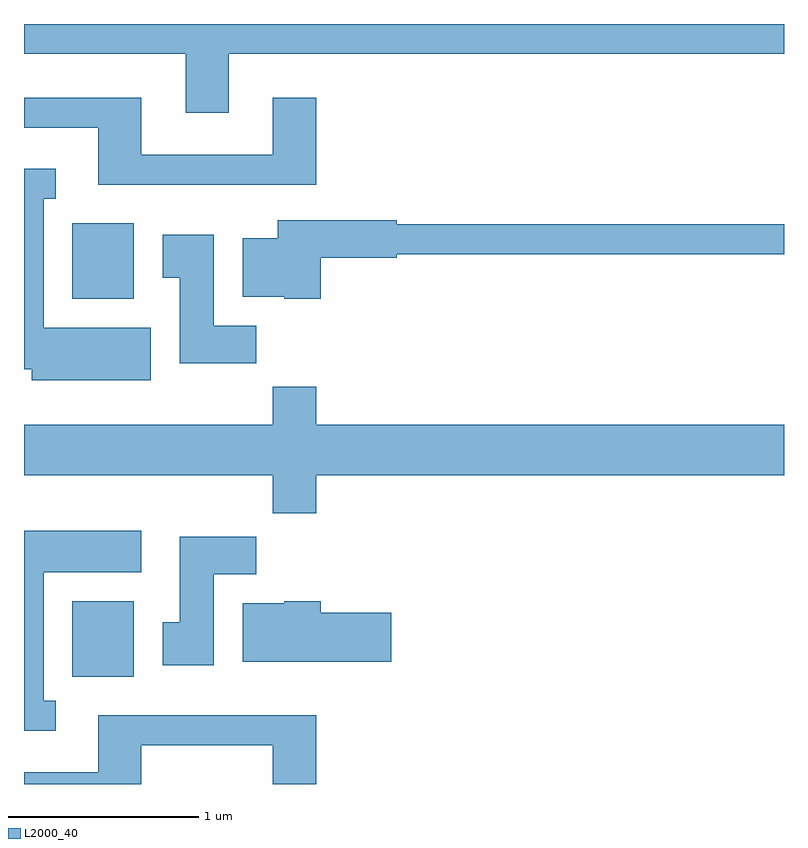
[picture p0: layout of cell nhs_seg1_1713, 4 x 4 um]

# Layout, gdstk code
import gdstk
lib = gdstk.Library(unit=1e-6, precision=1e-09)
def R(c, l, rs):  # rectangles x0, y0, x1, y1
    for r in rs: c.add(gdstk.rectangle(r[:2], r[2:], *l))
def P(c, l, *ps):  # polygons
    for p in ps: c.add(gdstk.Polygon(p, *l))
L2000_40 = (2000, 40)

nhs_seg1_1713 = lib.new_cell('nhs_seg1_1713')
R(nhs_seg1_1713, L2000_40, [(237.866,916.276,238.189,916.674), (237.866,918.266,238.189,918.664)])
P(nhs_seg1_1713, L2000_40, [(238.689,919.556),(241.611,919.556),(241.611,919.712),(237.611,919.712),(237.611,919.556),(238.461,919.556),(238.461,919.246),(238.689,919.246)],
  [(239.149,919.324),(238.921,919.324),(238.921,919.024),(238.229,919.024),(238.229,919.324),(237.611,919.324),(237.611,919.166),(238.001,919.166),(238.001,918.866),(239.149,918.866)],
  [(238.279,918.114),(237.714,918.114),(237.714,918.791),(237.778,918.791),(237.778,918.949),(237.611,918.949),(237.611,917.896),(237.651,917.896),(237.651,917.836),(238.279,917.836)],
  [(239.174,918.481),(239.574,918.481),(239.574,918.501),(241.611,918.501),(241.611,918.659),(239.574,918.659),(239.574,918.679),(238.946,918.679),(238.946,918.584),(238.761,918.584),(238.761,918.276),(238.98,918.276),(238.98,918.266),(239.174,918.266)],
  [(238.834,918.124),(238.609,918.124),(238.609,918.604),(238.341,918.604),(238.341,918.376),(238.431,918.376),(238.431,917.926),(238.834,917.926)],
  [(239.149,917.336),(241.611,917.336),(241.611,917.604),(239.149,917.604),(239.149,917.804),(238.921,917.804),(238.921,917.604),(237.611,917.604),(237.611,917.336),(238.921,917.336),(238.921,917.136),(239.149,917.136)],
  [(237.778,916.149),(237.714,916.149),(237.714,916.826),(238.229,916.826),(238.229,917.044),(237.611,917.044),(237.611,915.991),(237.778,915.991)],
  [(238.609,916.816),(238.834,916.816),(238.834,917.014),(238.431,917.014),(238.431,916.564),(238.341,916.564),(238.341,916.336),(238.609,916.336)],
  [(239.544,916.614),(239.174,916.614),(239.174,916.674),(238.98,916.674),(238.98,916.664),(238.761,916.664),(238.761,916.356),(239.544,916.356)],
  [(238.229,915.916),(238.921,915.916),(238.921,915.712),(239.149,915.712),(239.149,916.074),(238.001,916.074),(238.001,915.774),(237.611,915.774),(237.611,915.712),(238.229,915.712)])

lib.write_gds('nhs_seg1_1713.gds')
